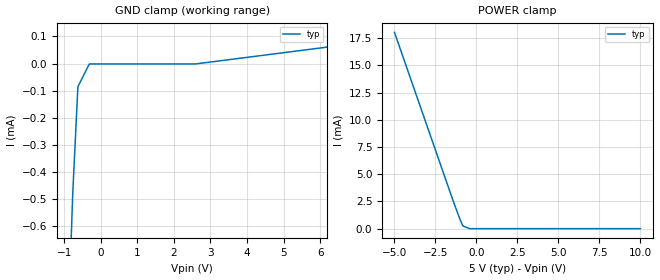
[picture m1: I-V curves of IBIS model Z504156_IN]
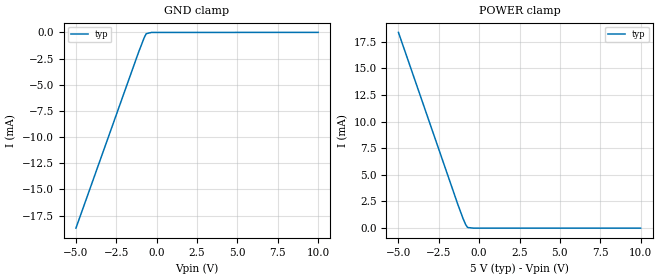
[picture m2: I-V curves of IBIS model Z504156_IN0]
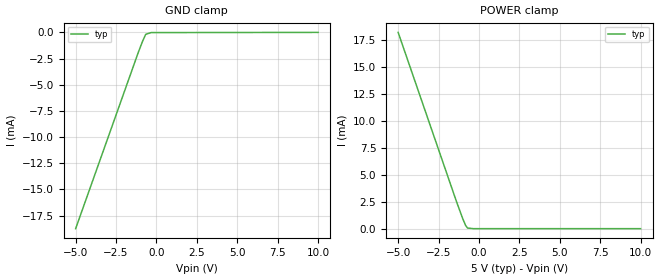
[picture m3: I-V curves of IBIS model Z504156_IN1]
| YOU ARE ONLY AUTHORIZED TO USE THIS SOFTWARE
| ACCORDING TO LICENSOR'S LICENSE RESTRICTIONS.
[IBIS Ver] 3.1
[File Name] mc74hc153d.ibs
[File Rev] 2.0
[Source] Measured and created by ICX Technology
[Date] Friday 7/14/00 9:08:08 AM
[Copyright]
| (C) COPYRIGHT 1993-2000
| MENTOR GRAPHICS CORPORATION
| ICX STANDARD LIBRARY, ICX PROJECT MODELING,
| ICX CUSTOM MODELING, ICX VENDOR MODEL
| ALL RIGHTS RESERVED.
| THE FOLLOWING ARE TRADEMARKS OR SERVICE MARKS OF
| MENTOR GRAPHICS CORPORATION:ICX (R), ICX STANDARD
| LIBRARY(R), ICX PROJECT MODELING(R), ICX CUSTOM
| MODELING(R), qualityIBIS(TM), MODELVIEWER(TM),
| AND MODELEDITOR(TM)
| ALL COPIES OF SOFTWARE, INCLUDING BUT NOT LIMITED TO
| ANY MODIFICATIONS, ENHANCEMENTS OR DERIVATIVE WORKS,
| MUST CONTAIN ALL MENTOR GRAPHICS CORPORATION'S
| NOTICES AND LEGENDS, INCLUDING THOSE EMBEDDED IN
| SOFTWARE AND THOSE AFFIXED TO SOFTWARE MEDIUM
| AND CONTAINER, AS RECEIVED FROM MENTOR GRAPHICS
| CORPORATION.
|  ZAP Model Builder 2.7
[Component] MC74HC153D
[Manufacturer] OnSemiconductor
[Package]
| variable   typ   min   max
R_pkg  .156ohms NA NA
L_pkg  3.148nH NA NA
C_pkg  .388pF NA NA
[Pin] signal_name  model_name  R_pin  L_pin C_pin
1 _G1 Z504156_IN0 .162 3.798n .418p
2 B Z504156_IN1 .158 3.358n .398p
3 C3A Z504156_IN .154 2.928n .378p
4 C2A Z504156_IN .15 2.508n .358p
5 C1A Z504156_IN .15 2.508n .358p
6 C0A Z504156_IN .154 2.928n .378p
7 Y1 Z504156_OUT .158 3.358n .398p
8 GROUND GND .162 3.798n .418p
9 Y2 Z504156_OUT .162 3.798n .418p
10 C0B Z504156_IN .158 3.358n .398p
11 C1B Z504156_IN .154 2.928n .378p
12 C2B Z504156_IN .15 2.508n .358p
13 C3B Z504156_IN .15 2.508n .358p
14 A Z504156_IN1 .154 2.928n .378p
15 _G2 Z504156_IN0 .158 3.358n .398p
16 VCC POWER .162 3.798n .418p
| Models and submodels in the file (4): Z504156_IN (Input), Z504156_IN0 (Input), Z504156_IN1 (Input), Z504156_OUT (Output)
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| (C) COPYRIGHT 1993-2000
| MENTOR GRAPHICS CORPORATION
| ICX STANDARD LIBRARY, ICX PROJECT MODELING,
| ICX CUSTOM MODELING, ICX VENDOR MODEL
| ALL RIGHTS RESERVED.
| THE FOLLOWING ARE TRADEMARKS OR SERVICE MARKS OF
| MENTOR GRAPHICS CORPORATION:ICX (R), ICX STANDARD
| LIBRARY(R), ICX PROJECT MODELING(R), ICX CUSTOM
| MODELING(R), qualityIBIS(TM), MODELVIEWER(TM),
| AND MODELEDITOR(TM)
| ALL COPIES OF SOFTWARE, INCLUDING BUT NOT LIMITED TO
| ANY MODIFICATIONS, ENHANCEMENTS OR DERIVATIVE WORKS,
| MUST CONTAIN ALL MENTOR GRAPHICS CORPORATION'S
| NOTICES AND LEGENDS, INCLUDING THOSE EMBEDDED IN
| SOFTWARE AND THOSE AFFIXED TO SOFTWARE MEDIUM
| AND CONTAINER, AS RECEIVED FROM MENTOR GRAPHICS
| CORPORATION.
| Model Application Version 1.89 2/18/99.
[Model] Z504156_IN
Model_type Input
Vinl = 1.000V
Vinh = 3.500V
C_comp 4.000pF NA NA
| variable typ   min   max
[Voltage Range] 5.000V NA NA
[GND Clamp Reference] 0.000V NA NA
[POWER Clamp Reference] 5.000V NA NA
[GND Clamp]
-5V       -18.51mA   NA         NA
-1.132V   -1.916mA   NA         NA
-766mV    -476.6uA   NA         NA
-625.8mV  -85.3uA    NA         NA
-312.9mV  -1.21uA    NA         NA
2.589V    -1.21uA    NA         NA
10V       126.5uA    NA         NA
[POWER Clamp]
-5V       18.02mA    NA         NA
-1.426V   2.568mA    NA         NA
-1.004V   849.4uA    NA         NA
-830mV    248.3uA    NA         NA
-415mV    0A         NA         NA
10V       0A         NA         NA
| (C) COPYRIGHT 1993-2000
| MENTOR GRAPHICS CORPORATION
| ICX STANDARD LIBRARY, ICX PROJECT MODELING,
| ICX CUSTOM MODELING, ICX VENDOR MODEL
| ALL RIGHTS RESERVED.
| THE FOLLOWING ARE TRADEMARKS OR SERVICE MARKS OF
| MENTOR GRAPHICS CORPORATION:ICX (R), ICX STANDARD
| LIBRARY(R), ICX PROJECT MODELING(R), ICX CUSTOM
| MODELING(R), qualityIBIS(TM), MODELVIEWER(TM),
| AND MODELEDITOR(TM)
| ALL COPIES OF SOFTWARE, INCLUDING BUT NOT LIMITED TO
| ANY MODIFICATIONS, ENHANCEMENTS OR DERIVATIVE WORKS,
| MUST CONTAIN ALL MENTOR GRAPHICS CORPORATION'S
| NOTICES AND LEGENDS, INCLUDING THOSE EMBEDDED IN
| SOFTWARE AND THOSE AFFIXED TO SOFTWARE MEDIUM
| AND CONTAINER, AS RECEIVED FROM MENTOR GRAPHICS
| CORPORATION.
| Model Application Version 1.89 2/18/99.
[Model] Z504156_IN0
Model_type Input
Vinl = 1.000V
Vinh = 3.500V
C_comp 4.000pF NA NA
| variable typ   min   max
[Voltage Range] 5.000V NA NA
[GND Clamp Reference] 0.000V NA NA
[POWER Clamp Reference] 5.000V NA NA
[GND Clamp]
-5V       -18.7mA    NA         NA
-1.131V   -1.948mA   NA         NA
-766.1mV  -490.8uA   NA         NA
-645.4mV  -129.2uA   NA         NA
-322.7mV  -12.71uA   NA         NA
10V       -4.63uA    NA         NA
[POWER Clamp]
-5V       18.36mA    NA         NA
-1.328V   2.258mA    NA         NA
-1.004V   924.7uA    NA         NA
-830mV    310.6uA    NA         NA
-710mV    58.98uA    NA         NA
-355mV    0A         NA         NA
10V       0A         NA         NA
| (C) COPYRIGHT 1993-2000
| MENTOR GRAPHICS CORPORATION
| ICX STANDARD LIBRARY, ICX PROJECT MODELING,
| ICX CUSTOM MODELING, ICX VENDOR MODEL
| ALL RIGHTS RESERVED.
| THE FOLLOWING ARE TRADEMARKS OR SERVICE MARKS OF
| MENTOR GRAPHICS CORPORATION:ICX (R), ICX STANDARD
| LIBRARY(R), ICX PROJECT MODELING(R), ICX CUSTOM
| MODELING(R), qualityIBIS(TM), MODELVIEWER(TM),
| AND MODELEDITOR(TM)
| ALL COPIES OF SOFTWARE, INCLUDING BUT NOT LIMITED TO
| ANY MODIFICATIONS, ENHANCEMENTS OR DERIVATIVE WORKS,
| MUST CONTAIN ALL MENTOR GRAPHICS CORPORATION'S
| NOTICES AND LEGENDS, INCLUDING THOSE EMBEDDED IN
| SOFTWARE AND THOSE AFFIXED TO SOFTWARE MEDIUM
| AND CONTAINER, AS RECEIVED FROM MENTOR GRAPHICS
| CORPORATION.
| Model Application Version 1.89 2/18/99.
[Model] Z504156_IN1
Model_type Input
Vinl = 1.000V
Vinh = 3.500V
C_comp 4.000pF NA NA
| variable typ   min   max
[Voltage Range] 5.000V NA NA
[GND Clamp Reference] 0.000V NA NA
[POWER Clamp Reference] 5.000V NA NA
[GND Clamp]
-5V       -18.74mA   NA         NA
-1.131V   -1.942mA   NA         NA
-859.3mV  -850.9uA   NA         NA
-664.2mV  -183.2uA   NA         NA
-332.1mV  -18.94uA   NA         NA
10V       -1.06uA    NA         NA
[POWER Clamp]
-5V       18.2mA     NA         NA
-1.406V   2.578mA    NA         NA
-1.004V   928.2uA    NA         NA
-830mV    313uA      NA         NA
-711mV    62.02uA    NA         NA
-355.5mV  0A         NA         NA
10V       0A         NA         NA
